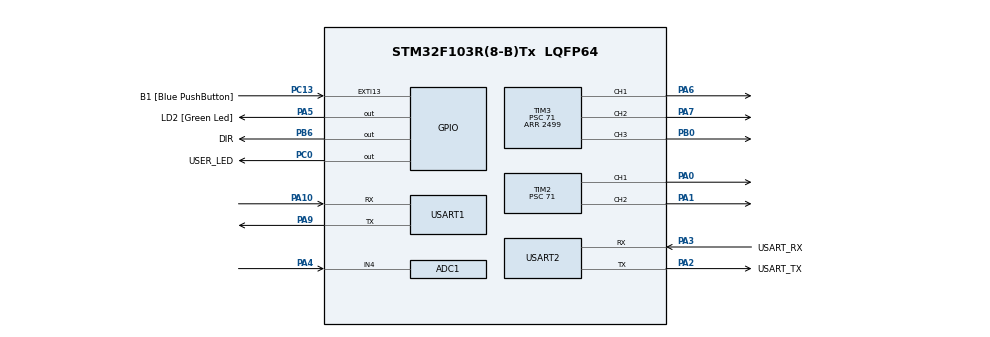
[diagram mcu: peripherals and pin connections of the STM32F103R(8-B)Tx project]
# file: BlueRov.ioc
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ADC1.Channel-3\#ChannelRegularConversion=ADC_CHANNEL_4
ADC1.NbrOfConversionFlag=1
ADC1.Rank-3\#ChannelRegularConversion=1
ADC1.SamplingTime-3\#ChannelRegularConversion=ADC_SAMPLETIME_1CYCLE_5
ADC1.master=1
Mcu.Family=STM32F1
Mcu.Name=STM32F103R(8-B)Tx
Mcu.Package=LQFP64
NVIC.EXTI15_10_IRQn=true\:0\:0\:false\:false\:true\:true\:true
NVIC.PriorityGroup=NVIC_PRIORITYGROUP_4
NVIC.USART1_IRQn=true\:0\:0\:false\:false\:true\:true\:true
PA0-WKUP.Signal=S_TIM2_CH1_ETR
PA1.Signal=S_TIM2_CH2
PA10.Mode=Asynchronous
PA10.Signal=USART1_RX
PA13.GPIO_Label=TMS
PA13.Mode=Serial_Wire
PA13.Signal=SYS_JTMS-SWDIO
PA14.GPIO_Label=TCK
PA14.Mode=Serial_Wire
PA14.Signal=SYS_JTCK-SWCLK
PA2.GPIO_Label=USART_TX
PA2.GPIO_Mode=GPIO_MODE_AF_PP
PA2.GPIO_PuPd=GPIO_NOPULL
PA2.GPIO_Speed=GPIO_SPEED_FREQ_LOW
PA2.Mode=Asynchronous
PA2.Signal=USART2_TX
PA3.GPIO_Label=USART_RX
PA3.GPIO_Mode=GPIO_MODE_AF_PP
PA3.GPIO_PuPd=GPIO_NOPULL
PA3.GPIO_Speed=GPIO_SPEED_FREQ_LOW
PA3.Mode=Asynchronous
PA3.Signal=USART2_RX
PA4.Signal=ADCx_IN4
PA5.GPIO_Label=LD2 [Green Led]
PA5.GPIO_ModeDefaultOutputPP=GPIO_MODE_OUTPUT_PP
PA5.GPIO_PuPd=GPIO_NOPULL
PA5.GPIO_Speed=GPIO_SPEED_FREQ_LOW
PA5.Signal=GPIO_Output
PA6.Signal=S_TIM3_CH1
PA7.Signal=S_TIM3_CH2
PA9.Mode=Asynchronous
PA9.Signal=USART1_TX
PB0.Signal=S_TIM3_CH3
PB3.GPIO_Label=SWO
PB3.Signal=SYS_JTDO-TRACESWO
PB6.GPIO_Label=DIR
PB6.Signal=GPIO_Output
PC0.GPIO_Label=USER_LED
PC0.Signal=GPIO_Output
PC13-TAMPER-RTC.GPIO_Label=B1 [Blue PushButton]
PC13-TAMPER-RTC.GPIO_PuPd=GPIO_NOPULL
PC13-TAMPER-RTC.Signal=GPXTI13
PC14-OSC32_IN.Mode=LSE-External-Oscillator
PC14-OSC32_IN.Signal=RCC_OSC32_IN
PC15-OSC32_OUT.Mode=LSE-External-Oscillator
PC15-OSC32_OUT.Signal=RCC_OSC32_OUT
PD0-OSC_IN.Mode=HSE-External-Clock-Source
PD0-OSC_IN.Signal=RCC_OSC_IN
PD1-OSC_OUT.Mode=HSE-External-Clock-Source
PD1-OSC_OUT.Signal=RCC_OSC_OUT
ProjectManager.HeapSize=0x200
ProjectManager.StackSize=0x400
ProjectManager.TargetToolchain=SW4STM32
RCC.ADCPresc=RCC_ADCPCLK2_DIV6
RCC.AHBFreq_Value=72000000
RCC.APB1CLKDivider=RCC_HCLK_DIV2
RCC.APB1Freq_Value=36000000
RCC.APB1TimFreq_Value=72000000
RCC.APB2Freq_Value=72000000
RCC.APB2TimFreq_Value=72000000
RCC.HCLKFreq_Value=72000000
RCC.PLLMUL=RCC_PLL_MUL9
RCC.PLLSourceVirtual=RCC_PLLSOURCE_HSE
RCC.RTCClockSelection=RCC_RTCCLKSOURCE_LSE
RCC.SYSCLKFreq_VALUE=72000000
RCC.SYSCLKSource=RCC_SYSCLKSOURCE_PLLCLK
RCC.USBFreq_Value=72000000
SH.ADCx_IN4.0=ADC1_IN4,IN4
SH.S_TIM2_CH1_ETR.0=TIM2_CH1,PWM Generation1 CH1
SH.S_TIM2_CH2.0=TIM2_CH2,PWM Generation2 CH2
SH.S_TIM3_CH1.0=TIM3_CH1,PWM Generation1 CH1
SH.S_TIM3_CH2.0=TIM3_CH2,PWM Generation2 CH2
SH.S_TIM3_CH3.0=TIM3_CH3,PWM Generation3 CH3
TIM2.Channel-PWM\ Generation1\ CH1=TIM_CHANNEL_1
TIM2.Channel-PWM\ Generation2\ CH2=TIM_CHANNEL_2
TIM2.Period=2499
TIM2.Prescaler=71
TIM3.Channel-PWM\ Generation1\ CH1=TIM_CHANNEL_1
TIM3.Channel-PWM\ Generation2\ CH2=TIM_CHANNEL_2
TIM3.Channel-PWM\ Generation3\ CH3=TIM_CHANNEL_3
TIM3.Period=2499
TIM3.Prescaler=71
USART1.VirtualMode=VM_ASYNC
USART2.VirtualMode=VM_ASYNC
board=NUCLEO-F103RB

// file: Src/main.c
/* USER CODE BEGIN Header */
/**
 ******************************************************************************
 * @file           : main.c
 * @brief          : Main program body
 ******************************************************************************
 ** This notice applies to any and all portions of this file
 * that are not between comment pairs USER CODE BEGIN and
 * USER CODE END. Other portions of this file, whether
 * inserted by the user or by software development tools
 * are owned by their respective copyright owners.
 *
 * COPYRIGHT(c) 2019 STMicroelectronics
 *
 * Redistribution and use in source and binary forms, with or without modification,
 * are permitted provided that the following conditions are met:
 *   1. Redistributions of source code must retain the above copyright notice,
 *      this list of conditions and the following disclaimer.
 *   2. Redistributions in binary form must reproduce the above copyright notice,
 *      this list of conditions and the following disclaimer in the documentation
 *      and/or other materials provided with the distribution.
 *   3. Neither the name of STMicroelectronics nor the names of its contributors
 *      may be used to endorse or promote products derived from this software
 *      without specific prior written permission.
 *
 * THIS SOFTWARE IS PROVIDED BY THE COPYRIGHT HOLDERS AND CONTRIBUTORS "AS IS"
 * AND ANY EXPRESS OR IMPLIED WARRANTIES, INCLUDING, BUT NOT LIMITED TO, THE
 * IMPLIED WARRANTIES OF MERCHANTABILITY AND FITNESS FOR A PARTICULAR PURPOSE ARE
 * DISCLAIMED. IN NO EVENT SHALL THE COPYRIGHT HOLDER OR CONTRIBUTORS BE LIABLE
 * FOR ANY DIRECT, INDIRECT, INCIDENTAL, SPECIAL, EXEMPLARY, OR CONSEQUENTIAL
 * DAMAGES (INCLUDING, BUT NOT LIMITED TO, PROCUREMENT OF SUBSTITUTE GOODS OR
 * SERVICES; LOSS OF USE, DATA, OR PROFITS; OR BUSINESS INTERRUPTION) HOWEVER
 * CAUSED AND ON ANY THEORY OF LIABILITY, WHETHER IN CONTRACT, STRICT LIABILITY,
 * OR TORT (INCLUDING NEGLIGENCE OR OTHERWISE) ARISING IN ANY WAY OUT OF THE USE
 * OF THIS SOFTWARE, EVEN IF ADVISED OF THE POSSIBILITY OF SUCH DAMAGE.
 *
 ******************************************************************************
 */
/* USER CODE END Header */

#include "main.h"

/* USER CODE BEGIN Includes */
#include "rs485.h"
#include "frame_parser.h"
#include <stdint.h>
#include <stdio.h>

/* USER CODE END Includes */

void SystemClock_Config(void);
static void MX_GPIO_Init(void);
static void MX_USART2_UART_Init(void);
static void MX_USART1_UART_Init(void);
static void MX_TIM3_Init(void);
static void MX_TIM2_Init(void);
static void MX_ADC1_Init(void);

/* USER CODE BEGIN 0 */

#define RX_BUFFER_LENGTH 100

static const uint32_t THRUSTER_MAX = 1900;
static const uint32_t THRUSTER_MID = 1500;
static const uint32_t THRUSTER_MIN = 1100;
static const uint32_t THRUSTER_RANGE = 400;

frame_t frame;

uint8_t rx_buffer[RX_BUFFER_LENGTH];
uint8_t rx_buffer_uart[RX_BUFFER_LENGTH];

TIM_TypeDef* timer_table[5];
uint32_t pwm_chanel[5];

void (*set_chanel[5])(TIM_TypeDef*, uint32_t) = {
	LL_TIM_OC_SetCompareCH1,
	LL_TIM_OC_SetCompareCH2,
	LL_TIM_OC_SetCompareCH1,
	LL_TIM_OC_SetCompareCH2,
	LL_TIM_OC_SetCompareCH3 };

// PSEUDO SEMAPHORE
uint8_t new_data_available = 0;

void Init_GenTimChanelTables() {
	timer_table[0] = TIM2;
	timer_table[1] = TIM2;
	timer_table[2] = TIM3;
	timer_table[3] = TIM3;
	timer_table[4] = TIM3;

	pwm_chanel[0] = LL_TIM_CHANNEL_CH1;
	pwm_chanel[1] = LL_TIM_CHANNEL_CH2;
	pwm_chanel[2] = LL_TIM_CHANNEL_CH1;
	pwm_chanel[3] = LL_TIM_CHANNEL_CH2;
	pwm_chanel[4] = LL_TIM_CHANNEL_CH3;
}
void Init_StopThrusters() {
	for (int i = 0; i < 5; i++) {
		(*set_chanel[i])(timer_table[i], THRUSTER_MID);
	}
	/*LL_TIM_OC_SetCompareCH1(TIM2, THRUSTER_MID);
	 LL_TIM_OC_SetCompareCH2(TIM2, THRUSTER_MID);
	 LL_TIM_OC_SetCompareCH1(TIM3, THRUSTER_MID);
	 LL_TIM_OC_SetCompareCH2(TIM3, THRUSTER_MID);
	 LL_TIM_OC_SetCompareCH3(TIM3, THRUSTER_MID);*/
}

void Init_StartPwms() {
	LL_TIM_EnableCounter(TIM2);
	LL_TIM_EnableCounter(TIM3);

	LL_TIM_EnableAllOutputs(TIM2);
	LL_TIM_EnableAllOutputs(TIM3);

	LL_TIM_CC_EnableChannel(TIM2, LL_TIM_CHANNEL_CH1);
	LL_TIM_CC_EnableChannel(TIM2, LL_TIM_CHANNEL_CH2);
	LL_TIM_CC_EnableChannel(TIM3, LL_TIM_CHANNEL_CH1);
	LL_TIM_CC_EnableChannel(TIM3, LL_TIM_CHANNEL_CH2);
	LL_TIM_CC_EnableChannel(TIM3, LL_TIM_CHANNEL_CH3);
}

void copy_buffer(uint8_t source[], uint8_t destination[], uint32_t length) {
	while (length--) {
		destination[length - 1] = source[length - 1];
	}
}

uint16_t GetPwmValue(float value) {
	return THRUSTER_MID + (int16_t) ((float) THRUSTER_RANGE * value);
}

void SetThrusters(controll_data_t ctrl_data) {

	for (int i = 0; i < 5; i++) {
		uint16_t pwm = GetPwmValue(ctrl_data.thrusters[i]);
		(set_chanel[i])(timer_table[i], pwm);
	}
}

/* USER CODE END 0 */

int main(void) {
	/* USER CODE BEGIN 1 */

	controll_data_t ctrl_data;
	float voltage = 0.0f;
	/* USER CODE END 1 */

	/* MCU Configuration--------------------------------------------------------*/

	/* Reset of all peripherals, Initializes the Flash interface and the Systick. */

	LL_APB2_GRP1_EnableClock(LL_APB2_GRP1_PERIPH_AFIO);
	LL_APB1_GRP1_EnableClock(LL_APB1_GRP1_PERIPH_PWR);

	NVIC_SetPriorityGrouping(NVIC_PRIORITYGROUP_4);

	/* System interrupt init*/

	/** NOJTAG: JTAG-DP Disabled and SW-DP Enabled
	 */
	LL_GPIO_AF_Remap_SWJ_NOJTAG();

	/* Configure the system clock */
	SystemClock_Config();

	/* Initialize all configured peripherals */
	MX_GPIO_Init();
	MX_USART2_UART_Init();
	MX_USART1_UART_Init();
	MX_TIM3_Init();
	MX_TIM2_Init();
	MX_ADC1_Init();
	/* USER CODE BEGIN 2 */

	Init_GenTimChanelTables();
	Init_StopThrusters();
	Init_StartPwms();

	rs485_init();
	/* USER CODE END 2 */

	/* Infinite loop */
	/* USER CODE BEGIN WHILE */
	while (1) {

		if (new_data_available == 1) {
			LL_GPIO_TogglePin(USER_LED_GPIO_Port, USER_LED_Pin);
			LL_GPIO_TogglePin(LD2_GPIO_Port, LD2_Pin);
			if (Parser_ParseControllData(&frame, &ctrl_data)
					== PARSER_COMPLETE) {
				SetThrusters(ctrl_data);
			}

			if (Parser_ParseVoltageRequest(&frame) == PARSER_COMPLETE) {
				voltage_data_t voltData;
				char voltage_str[64];
				sprintf(voltage_str, "%f", voltage);

				for (int i = 0; i < 6; i++) {
					voltData.v_txt[i] = voltage_str[i];
				}
				voltData.v_txt[6] = 'V';
				voltData.v_txt[7] = '\0';
				uint8_t tx_data[200];
				uint32_t tx_len;
				frame = Parser_CreateVoltageFrame(&voltData);
				Parser_CreateTxBuffer(&frame, tx_data, 200, &tx_len);

				rs485_transmit(tx_data,tx_len);
			}

			new_data_available = 0;
			Parser_InitFrame(&frame);
		}

		/* USER CODE END WHILE */

	}
}

void SystemClock_Config(void) {
	LL_FLASH_SetLatency(LL_FLASH_LATENCY_2);

	if (LL_FLASH_GetLatency() != LL_FLASH_LATENCY_2) {
		Error_Handler();
	}
	LL_RCC_HSE_EnableBypass();
	LL_RCC_HSE_Enable();

	/* Wait till HSE is ready */
	while (LL_RCC_HSE_IsReady() != 1) {

	}
	LL_RCC_PLL_ConfigDomain_SYS(LL_RCC_PLLSOURCE_HSE_DIV_1, LL_RCC_PLL_MUL_9);
	LL_RCC_PLL_Enable();

	/* Wait till PLL is ready */
	while (LL_RCC_PLL_IsReady() != 1) {

	}
	LL_RCC_SetAHBPrescaler(LL_RCC_SYSCLK_DIV_1);
	LL_RCC_SetAPB1Prescaler(LL_RCC_APB1_DIV_2);
	LL_RCC_SetAPB2Prescaler(LL_RCC_APB2_DIV_1);
	LL_RCC_SetSysClkSource(LL_RCC_SYS_CLKSOURCE_PLL);

	/* Wait till System clock is ready */
	while (LL_RCC_GetSysClkSource() != LL_RCC_SYS_CLKSOURCE_STATUS_PLL) {

	}
	LL_Init1msTick(72000000);
	LL_SYSTICK_SetClkSource(LL_SYSTICK_CLKSOURCE_HCLK);
	LL_SetSystemCoreClock(72000000);
	LL_RCC_SetADCClockSource(LL_RCC_ADC_CLKSRC_PCLK2_DIV_6);
}

static void MX_ADC1_Init(void) {

	LL_ADC_InitTypeDef ADC_InitStruct = { 0 };
	LL_ADC_CommonInitTypeDef ADC_CommonInitStruct = { 0 };
	LL_ADC_REG_InitTypeDef ADC_REG_InitStruct = { 0 };

	LL_GPIO_InitTypeDef GPIO_InitStruct = { 0 };

	/* Peripheral clock enable */
	LL_APB2_GRP1_EnableClock(LL_APB2_GRP1_PERIPH_ADC1);

	LL_APB2_GRP1_EnableClock(LL_APB2_GRP1_PERIPH_GPIOA);
	/**ADC1 GPIO Configuration
	 PA4   ------> ADC1_IN4
	 */
	GPIO_InitStruct.Pin = LL_GPIO_PIN_4;
	GPIO_InitStruct.Mode = LL_GPIO_MODE_ANALOG;
	LL_GPIO_Init(GPIOA, &GPIO_InitStruct);

	/** Common config
	 */
	ADC_InitStruct.DataAlignment = LL_ADC_DATA_ALIGN_RIGHT;
	ADC_InitStruct.SequencersScanMode = LL_ADC_SEQ_SCAN_DISABLE;
	LL_ADC_Init(ADC1, &ADC_InitStruct);
	ADC_CommonInitStruct.Multimode = LL_ADC_MULTI_INDEPENDENT;
	LL_ADC_CommonInit(__LL_ADC_COMMON_INSTANCE(ADC1), &ADC_CommonInitStruct);
	ADC_REG_InitStruct.TriggerSource = LL_ADC_REG_TRIG_SOFTWARE;
	ADC_REG_InitStruct.SequencerLength = LL_ADC_REG_SEQ_SCAN_DISABLE;
	ADC_REG_InitStruct.SequencerDiscont = LL_ADC_REG_SEQ_DISCONT_DISABLE;
	ADC_REG_InitStruct.ContinuousMode = LL_ADC_REG_CONV_SINGLE;
	ADC_REG_InitStruct.DMATransfer = LL_ADC_REG_DMA_TRANSFER_NONE;
	LL_ADC_REG_Init(ADC1, &ADC_REG_InitStruct);
	/** Configure Regular Channel
	 */
	LL_ADC_REG_SetSequencerRanks(ADC1, LL_ADC_REG_RANK_1, LL_ADC_CHANNEL_4);
	LL_ADC_SetChannelSamplingTime(ADC1, LL_ADC_CHANNEL_4,
			LL_ADC_SAMPLINGTIME_1CYCLE_5);

}

static void MX_TIM2_Init(void) {

	LL_TIM_InitTypeDef TIM_InitStruct = { 0 };
	LL_TIM_OC_InitTypeDef TIM_OC_InitStruct = { 0 };

	LL_GPIO_InitTypeDef GPIO_InitStruct = { 0 };

	/* Peripheral clock enable */
	LL_APB1_GRP1_EnableClock(LL_APB1_GRP1_PERIPH_TIM2);

	TIM_InitStruct.Prescaler = 71;
	TIM_InitStruct.CounterMode = LL_TIM_COUNTERMODE_UP;
	TIM_InitStruct.Autoreload = 2499;
	TIM_InitStruct.ClockDivision = LL_TIM_CLOCKDIVISION_DIV1;
	LL_TIM_Init(TIM2, &TIM_InitStruct);
	LL_TIM_DisableARRPreload(TIM2);
	LL_TIM_OC_EnablePreload(TIM2, LL_TIM_CHANNEL_CH1);
	TIM_OC_InitStruct.OCMode = LL_TIM_OCMODE_PWM1;
	TIM_OC_InitStruct.OCState = LL_TIM_OCSTATE_DISABLE;
	TIM_OC_InitStruct.OCNState = LL_TIM_OCSTATE_DISABLE;
	TIM_OC_InitStruct.CompareValue = 0;
	TIM_OC_InitStruct.OCPolarity = LL_TIM_OCPOLARITY_HIGH;
	LL_TIM_OC_Init(TIM2, LL_TIM_CHANNEL_CH1, &TIM_OC_InitStruct);
	LL_TIM_OC_DisableFast(TIM2, LL_TIM_CHANNEL_CH1);
	LL_TIM_OC_EnablePreload(TIM2, LL_TIM_CHANNEL_CH2);
	TIM_OC_InitStruct.OCState = LL_TIM_OCSTATE_DISABLE;
	TIM_OC_InitStruct.OCNState = LL_TIM_OCSTATE_DISABLE;
	LL_TIM_OC_Init(TIM2, LL_TIM_CHANNEL_CH2, &TIM_OC_InitStruct);
	LL_TIM_OC_DisableFast(TIM2, LL_TIM_CHANNEL_CH2);
	LL_TIM_SetTriggerOutput(TIM2, LL_TIM_TRGO_RESET);
	LL_TIM_DisableMasterSlaveMode(TIM2);
	LL_APB2_GRP1_EnableClock(LL_APB2_GRP1_PERIPH_GPIOA);
	/**TIM2 GPIO Configuration
	 PA0-WKUP   ------> TIM2_CH1
	 PA1   ------> TIM2_CH2
	 */
	GPIO_InitStruct.Pin = LL_GPIO_PIN_0 | LL_GPIO_PIN_1;
	GPIO_InitStruct.Mode = LL_GPIO_MODE_ALTERNATE;
	GPIO_InitStruct.Speed = LL_GPIO_SPEED_FREQ_LOW;
	GPIO_InitStruct.OutputType = LL_GPIO_OUTPUT_PUSHPULL;
	LL_GPIO_Init(GPIOA, &GPIO_InitStruct);

}

static void MX_TIM3_Init(void) {

	LL_TIM_InitTypeDef TIM_InitStruct = { 0 };
	LL_TIM_OC_InitTypeDef TIM_OC_InitStruct = { 0 };

	LL_GPIO_InitTypeDef GPIO_InitStruct = { 0 };

	/* Peripheral clock enable */
	LL_APB1_GRP1_EnableClock(LL_APB1_GRP1_PERIPH_TIM3);

	TIM_InitStruct.Prescaler = 71;
	TIM_InitStruct.CounterMode = LL_TIM_COUNTERMODE_UP;
	TIM_InitStruct.Autoreload = 2499;
	TIM_InitStruct.ClockDivision = LL_TIM_CLOCKDIVISION_DIV1;
	LL_TIM_Init(TIM3, &TIM_InitStruct);
	LL_TIM_DisableARRPreload(TIM3);
	LL_TIM_OC_EnablePreload(TIM3, LL_TIM_CHANNEL_CH1);
	TIM_OC_InitStruct.OCMode = LL_TIM_OCMODE_PWM1;
	TIM_OC_InitStruct.OCState = LL_TIM_OCSTATE_DISABLE;
	TIM_OC_InitStruct.OCNState = LL_TIM_OCSTATE_DISABLE;
	TIM_OC_InitStruct.CompareValue = 0;
	TIM_OC_InitStruct.OCPolarity = LL_TIM_OCPOLARITY_HIGH;
	LL_TIM_OC_Init(TIM3, LL_TIM_CHANNEL_CH1, &TIM_OC_InitStruct);
	LL_TIM_OC_DisableFast(TIM3, LL_TIM_CHANNEL_CH1);
	LL_TIM_OC_EnablePreload(TIM3, LL_TIM_CHANNEL_CH2);
	TIM_OC_InitStruct.OCState = LL_TIM_OCSTATE_DISABLE;
	TIM_OC_InitStruct.OCNState = LL_TIM_OCSTATE_DISABLE;
	LL_TIM_OC_Init(TIM3, LL_TIM_CHANNEL_CH2, &TIM_OC_InitStruct);
	LL_TIM_OC_DisableFast(TIM3, LL_TIM_CHANNEL_CH2);
	LL_TIM_OC_EnablePreload(TIM3, LL_TIM_CHANNEL_CH3);
	TIM_OC_InitStruct.OCState = LL_TIM_OCSTATE_DISABLE;
	TIM_OC_InitStruct.OCNState = LL_TIM_OCSTATE_DISABLE;
	LL_TIM_OC_Init(TIM3, LL_TIM_CHANNEL_CH3, &TIM_OC_InitStruct);
	LL_TIM_OC_DisableFast(TIM3, LL_TIM_CHANNEL_CH3);
	LL_TIM_SetTriggerOutput(TIM3, LL_TIM_TRGO_RESET);
	LL_TIM_DisableMasterSlaveMode(TIM3);
	LL_APB2_GRP1_EnableClock(LL_APB2_GRP1_PERIPH_GPIOA);
	LL_APB2_GRP1_EnableClock(LL_APB2_GRP1_PERIPH_GPIOB);
	/**TIM3 GPIO Configuration
	 PA6   ------> TIM3_CH1
	 PA7   ------> TIM3_CH2
	 PB0   ------> TIM3_CH3
	 */
	GPIO_InitStruct.Pin = LL_GPIO_PIN_6 | LL_GPIO_PIN_7;
	GPIO_InitStruct.Mode = LL_GPIO_MODE_ALTERNATE;
	GPIO_InitStruct.Speed = LL_GPIO_SPEED_FREQ_LOW;
	GPIO_InitStruct.OutputType = LL_GPIO_OUTPUT_PUSHPULL;
	LL_GPIO_Init(GPIOA, &GPIO_InitStruct);

	GPIO_InitStruct.Pin = LL_GPIO_PIN_0;
	GPIO_InitStruct.Mode = LL_GPIO_MODE_ALTERNATE;
	GPIO_InitStruct.Speed = LL_GPIO_SPEED_FREQ_LOW;
	GPIO_InitStruct.OutputType = LL_GPIO_OUTPUT_PUSHPULL;
	LL_GPIO_Init(GPIOB, &GPIO_InitStruct);

}

static void MX_USART1_UART_Init(void) {

	LL_USART_InitTypeDef USART_InitStruct = { 0 };

	LL_GPIO_InitTypeDef GPIO_InitStruct = { 0 };

	/* Peripheral clock enable */
	LL_APB2_GRP1_EnableClock(LL_APB2_GRP1_PERIPH_USART1);

	LL_APB2_GRP1_EnableClock(LL_APB2_GRP1_PERIPH_GPIOA);
	/**USART1 GPIO Configuration
	 PA9   ------> USART1_TX
	 PA10   ------> USART1_RX
	 */
	GPIO_InitStruct.Pin = LL_GPIO_PIN_9;
	GPIO_InitStruct.Mode = LL_GPIO_MODE_ALTERNATE;
	GPIO_InitStruct.Speed = LL_GPIO_SPEED_FREQ_HIGH;
	GPIO_InitStruct.OutputType = LL_GPIO_OUTPUT_PUSHPULL;
	LL_GPIO_Init(GPIOA, &GPIO_InitStruct);

	GPIO_InitStruct.Pin = LL_GPIO_PIN_10;
	GPIO_InitStruct.Mode = LL_GPIO_MODE_FLOATING;
	LL_GPIO_Init(GPIOA, &GPIO_InitStruct);

	/* USART1 interrupt Init */
	NVIC_SetPriority(USART1_IRQn,
			NVIC_EncodePriority(NVIC_GetPriorityGrouping(), 0, 0));
	NVIC_EnableIRQ(USART1_IRQn);

	USART_InitStruct.BaudRate = 115200;
	USART_InitStruct.DataWidth = LL_USART_DATAWIDTH_8B;
	USART_InitStruct.StopBits = LL_USART_STOPBITS_1;
	USART_InitStruct.Parity = LL_USART_PARITY_NONE;
	USART_InitStruct.TransferDirection = LL_USART_DIRECTION_TX_RX;
	USART_InitStruct.HardwareFlowControl = LL_USART_HWCONTROL_NONE;
	USART_InitStruct.OverSampling = LL_USART_OVERSAMPLING_16;
	LL_USART_Init(USART1, &USART_InitStruct);
	LL_USART_ConfigAsyncMode(USART1);
	LL_USART_Enable(USART1);

}

static void MX_USART2_UART_Init(void) {

	LL_USART_InitTypeDef USART_InitStruct = { 0 };

	LL_GPIO_InitTypeDef GPIO_InitStruct = { 0 };

	/* Peripheral clock enable */
	LL_APB1_GRP1_EnableClock(LL_APB1_GRP1_PERIPH_USART2);

	LL_APB2_GRP1_EnableClock(LL_APB2_GRP1_PERIPH_GPIOA);
	/**USART2 GPIO Configuration
	 PA2   ------> USART2_TX
	 PA3   ------> USART2_RX
	 */
	GPIO_InitStruct.Pin = USART_TX_Pin;
	GPIO_InitStruct.Mode = LL_GPIO_MODE_ALTERNATE;
	GPIO_InitStruct.Speed = LL_GPIO_SPEED_FREQ_LOW;
	GPIO_InitStruct.OutputType = LL_GPIO_OUTPUT_PUSHPULL;
	LL_GPIO_Init(USART_TX_GPIO_Port, &GPIO_InitStruct);

	GPIO_InitStruct.Pin = USART_RX_Pin;
	GPIO_InitStruct.Mode = LL_GPIO_MODE_ALTERNATE;
	LL_GPIO_Init(USART_RX_GPIO_Port, &GPIO_InitStruct);

	USART_InitStruct.BaudRate = 115200;
	USART_InitStruct.DataWidth = LL_USART_DATAWIDTH_8B;
	USART_InitStruct.StopBits = LL_USART_STOPBITS_1;
	USART_InitStruct.Parity = LL_USART_PARITY_NONE;
	USART_InitStruct.TransferDirection = LL_USART_DIRECTION_TX_RX;
	USART_InitStruct.HardwareFlowControl = LL_USART_HWCONTROL_NONE;
	USART_InitStruct.OverSampling = LL_USART_OVERSAMPLING_16;
	LL_USART_Init(USART2, &USART_InitStruct);
	LL_USART_ConfigAsyncMode(USART2);
	LL_USART_Enable(USART2);

}

static void MX_GPIO_Init(void) {
	LL_EXTI_InitTypeDef EXTI_InitStruct = { 0 };
	LL_GPIO_InitTypeDef GPIO_InitStruct = { 0 };

	/* GPIO Ports Clock Enable */
	LL_APB2_GRP1_EnableClock(LL_APB2_GRP1_PERIPH_GPIOC);
	LL_APB2_GRP1_EnableClock(LL_APB2_GRP1_PERIPH_GPIOD);
	LL_APB2_GRP1_EnableClock(LL_APB2_GRP1_PERIPH_GPIOA);
	LL_APB2_GRP1_EnableClock(LL_APB2_GRP1_PERIPH_GPIOB);

	/**/
	LL_GPIO_ResetOutputPin(USER_LED_GPIO_Port, USER_LED_Pin);

	/**/
	LL_GPIO_ResetOutputPin(LD2_GPIO_Port, LD2_Pin);

	/**/
	LL_GPIO_ResetOutputPin(DIR_GPIO_Port, DIR_Pin);

	/**/
	LL_GPIO_AF_SetEXTISource(LL_GPIO_AF_EXTI_PORTC, LL_GPIO_AF_EXTI_LINE13);

	/**/
	EXTI_InitStruct.Line_0_31 = LL_EXTI_LINE_13;
	EXTI_InitStruct.LineCommand = ENABLE;
	EXTI_InitStruct.Mode = LL_EXTI_MODE_IT;
	EXTI_InitStruct.Trigger = LL_EXTI_TRIGGER_RISING;
	LL_EXTI_Init(&EXTI_InitStruct);

	/**/
	LL_GPIO_SetPinMode(B1_GPIO_Port, B1_Pin, LL_GPIO_MODE_FLOATING);

	/**/
	GPIO_InitStruct.Pin = USER_LED_Pin;
	GPIO_InitStruct.Mode = LL_GPIO_MODE_OUTPUT;
	GPIO_InitStruct.Speed = LL_GPIO_SPEED_FREQ_LOW;
	GPIO_InitStruct.OutputType = LL_GPIO_OUTPUT_PUSHPULL;
	LL_GPIO_Init(USER_LED_GPIO_Port, &GPIO_InitStruct);

	/**/
	GPIO_InitStruct.Pin = LD2_Pin;
	GPIO_InitStruct.Mode = LL_GPIO_MODE_OUTPUT;
	GPIO_InitStruct.Speed = LL_GPIO_SPEED_FREQ_LOW;
	GPIO_InitStruct.OutputType = LL_GPIO_OUTPUT_PUSHPULL;
	LL_GPIO_Init(LD2_GPIO_Port, &GPIO_InitStruct);

	/**/
	GPIO_InitStruct.Pin = DIR_Pin;
	GPIO_InitStruct.Mode = LL_GPIO_MODE_OUTPUT;
	GPIO_InitStruct.Speed = LL_GPIO_SPEED_FREQ_LOW;
	GPIO_InitStruct.OutputType = LL_GPIO_OUTPUT_PUSHPULL;
	LL_GPIO_Init(DIR_GPIO_Port, &GPIO_InitStruct);

	/* EXTI interrupt init*/
	NVIC_SetPriority(EXTI15_10_IRQn,
			NVIC_EncodePriority(NVIC_GetPriorityGrouping(), 0, 0));
	NVIC_EnableIRQ(EXTI15_10_IRQn);

}

void Error_Handler(void) {
}

/************************ (C) COPYRIGHT STMicroelectronics *****END OF FILE****/
